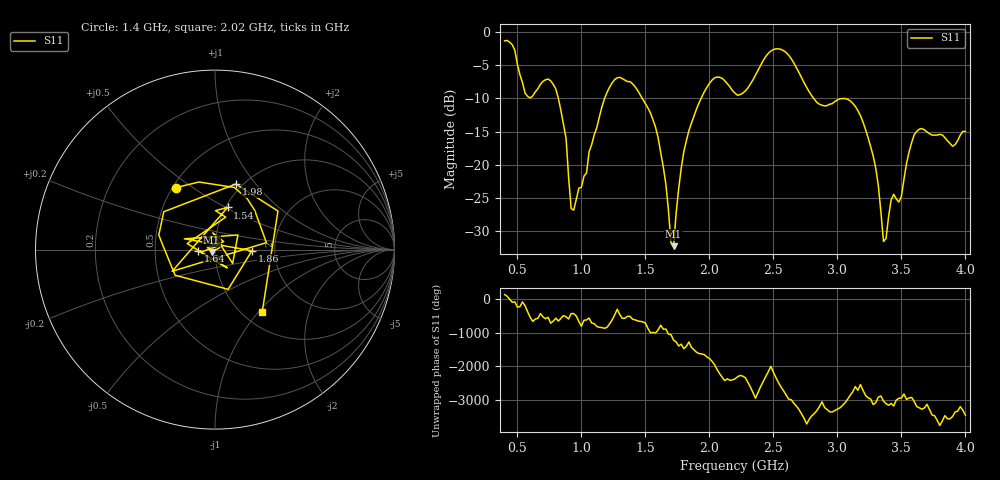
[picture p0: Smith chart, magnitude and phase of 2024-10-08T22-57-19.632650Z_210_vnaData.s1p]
! Created with skrf (http://scikit-rf.org).
# Hz S RI R 50.0
!freq ReS11 ImS11
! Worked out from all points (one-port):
!   181 points, 400 MHz to 4 GHz, reference 50 ohm
!   lowest |S11| = -32.3 dB at 1.72 GHz (marker M1), VSWR 1.05, Z = 48.1 - j1.39 ohm
!   |S11| at or under -10 dB: 820.2 MHz to 1.181 GHz (361 MHz wide, 36.1 % of centre); 1.476 GHz to 1.935 GHz (459.2 MHz wide, 26.9 % of centre); 2.815 GHz to end of sweep
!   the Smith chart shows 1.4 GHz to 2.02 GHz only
!   S11 on the Smith chart (normalised r, x): 1.4 GHz: 0.52, +0.43; 1.54 GHz: 1.02, +0.51; 1.64 GHz: 0.83, -0.01; 1.86 GHz: 1.52, -0.02; 1.98 GHz: 0.93, +0.80; 2.02 GHz: 1.23, -1.04
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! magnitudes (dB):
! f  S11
! 400 MHz  -1.3
! 580 MHz  -9.7
! 760 MHz  -7.3
! 860 MHz  -13.9
! 920 MHz  -26.6
! 940 MHz  -26.9
! 1.18 GHz  -10.1
! 1.3 GHz  -6.8
! 1.4 GHz  -7.8
! 1.54 GHz  -12.2
! 1.64 GHz  -20.4
! 1.72 GHz  -32.3
! 1.76 GHz  -23.6
! 1.86 GHz  -13.7
! 1.98 GHz  -8.3
! 2.02 GHz  -7.2
! 2.2 GHz  -9.2
! 2.5 GHz  -2.6
! 2.66 GHz  -4.7
! 2.86 GHz  -10.9
! 3.1 GHz  -10.4
! 3.28 GHz  -18.7
! 3.36 GHz  -31.6
! 3.42 GHz  -25.3
! 3.5 GHz  -24.8
! 3.56 GHz  -18.1
! 3.64 GHz  -14.6
! 4 GHz  -15.0
